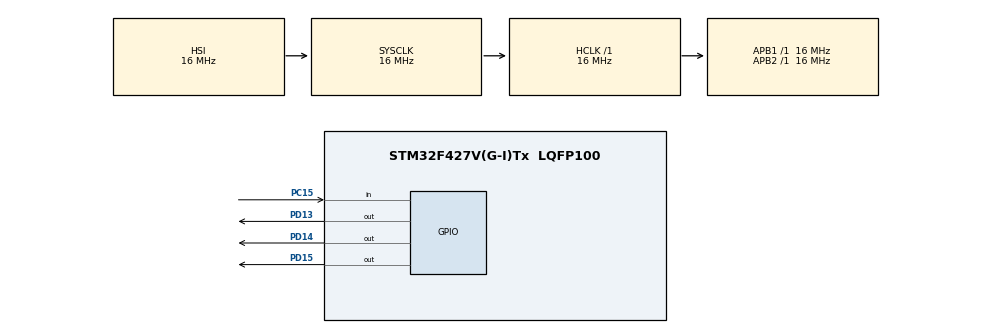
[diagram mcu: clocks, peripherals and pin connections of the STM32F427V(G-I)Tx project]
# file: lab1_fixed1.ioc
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Mcu.Family=STM32F4
Mcu.Name=STM32F427V(G-I)Tx
Mcu.Package=LQFP100
NVIC.PriorityGroup=NVIC_PRIORITYGROUP_4
PA13.Mode=JTAG_5_pins
PA13.Signal=SYS_JTMS-SWDIO
PA14.Mode=JTAG_5_pins
PA14.Signal=SYS_JTCK-SWCLK
PA15.Mode=JTAG_5_pins
PA15.Signal=SYS_JTDI
PB3.Mode=JTAG_5_pins
PB3.Signal=SYS_JTDO-SWO
PB4.Mode=JTAG_5_pins
PB4.Signal=SYS_JTRST
PC15/OSC32_OUT.Signal=GPIO_Input
PD13.Signal=GPIO_Output
PD14.Signal=GPIO_Output
PD15.Signal=GPIO_Output
ProjectManager.HeapSize=0x200
ProjectManager.StackSize=0x400
ProjectManager.TargetToolchain=STM32CubeIDE
RCC.AHBFreq_Value=16000000
RCC.APB1Freq_Value=16000000
RCC.APB2Freq_Value=16000000
RCC.CortexFreq_Value=16000000
RCC.HSE_VALUE=25000000
RCC.HSI_VALUE=16000000
RCC.LSE_VALUE=32768
RCC.SYSCLKFreq_VALUE=16000000
RCC.VCOOutputFreq_Value=192000000
board=custom

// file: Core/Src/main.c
/* USER CODE BEGIN Header */
/**
  ******************************************************************************
  * @file           : main.c
  * @brief          : Main program body
  ******************************************************************************
  * @attention
  *
  * Copyright (c) 2024 STMicroelectronics.
  * All rights reserved.
  *
  * This software is licensed under terms that can be found in the LICENSE file
  * in the root directory of this software component.
  * If no LICENSE file comes with this software, it is provided AS-IS.
  *
  ******************************************************************************
  */
/* USER CODE END Header */
#include "main.h"
#include "gpio.h"

/* USER CODE BEGIN Includes */
#include <stdbool.h>

#include "LightInfo.c"
/* USER CODE END Includes */

void SystemClock_Config(void);

/* USER CODE BEGIN 0 */

bool blocked = false;

bool is_button_pressed() {
	if (blocked){
		bool not_touched = (HAL_GPIO_ReadPin(GPIOC,GPIO_PIN_15) == 0);
		if (not_touched){
			blocked = false;
		}
		return not_touched;
	}
	blocked = (HAL_GPIO_ReadPin(GPIOC,GPIO_PIN_15) != 0);
	return false;
 }

struct LightInfo light_types[] = {
		  { { -1,GPIO_PIN_13,-1,GPIO_PIN_14 }, 600, 600,0 },
		  { { -1,GPIO_PIN_15,-1,GPIO_PIN_14 }, 1000, 1000, 0 },
		  { { -1,GPIO_PIN_13,-1,GPIO_PIN_15 }, 2000, 2000, 0 },
		  { { -1,GPIO_PIN_14,-1,GPIO_PIN_13 }, 500, 500, 0 }
};

bool activate_Light(struct LightInfo* current_mode) {
	bool clicked_while_animation = false;
	int code = current_mode->code[current_mode->current_code_index];

	int start_time = HAL_GetTick();
	int remain = current_mode->remain_time;
	while (HAL_GetTick() < start_time + remain)
		if (is_button_pressed() == true)
		{
			current_mode->remain_time = current_mode->delay_time - (HAL_GetTick() - start_time);
			clicked_while_animation = true;
			break;
		}

	if (code != -1) {
		HAL_GPIO_TogglePin(GPIOD, code);
	}
	if (!clicked_while_animation){
		current_mode->remain_time = current_mode->delay_time;
	}
	current_mode->current_code_index = (current_mode->current_code_index + 1) % 4;
	return clicked_while_animation;
}
/* USER CODE END 0 */

int main(void)
{

  /* MCU Configuration--------------------------------------------------------*/

  /* Reset of all peripherals, Initializes the Flash interface and the Systick. */
  HAL_Init();

  /* Configure the system clock */
  SystemClock_Config();

  /* Initialize all configured peripherals */
  MX_GPIO_Init();

  /* Infinite loop */
  /* USER CODE BEGIN WHILE */
  int mode = 0;
  bool start_when_button_is_pressed = false;
  while (1) {
	  start_when_button_is_pressed = activate_Light(&light_types[mode]);
		  if (is_button_pressed() || start_when_button_is_pressed) {
		  HAL_GPIO_WritePin(GPIOD, GPIO_PIN_13, 0);
		  HAL_GPIO_WritePin(GPIOD, GPIO_PIN_14, 0);
		  HAL_GPIO_WritePin(GPIOD, GPIO_PIN_15, 0);
		  mode = (mode + 1) % 4;
	  }
  }
  /* USER CODE END 3 */
}

void SystemClock_Config(void)
{
  RCC_OscInitTypeDef RCC_OscInitStruct = {0};
  RCC_ClkInitTypeDef RCC_ClkInitStruct = {0};

  /** Configure the main internal regulator output voltage
  */
  __HAL_RCC_PWR_CLK_ENABLE();
  __HAL_PWR_VOLTAGESCALING_CONFIG(PWR_REGULATOR_VOLTAGE_SCALE3);

  /** Initializes the RCC Oscillators according to the specified parameters
  * in the RCC_OscInitTypeDef structure.
  */
  RCC_OscInitStruct.OscillatorType = RCC_OSCILLATORTYPE_HSI;
  RCC_OscInitStruct.HSIState = RCC_HSI_ON;
  RCC_OscInitStruct.HSICalibrationValue = RCC_HSICALIBRATION_DEFAULT;
  RCC_OscInitStruct.PLL.PLLState = RCC_PLL_NONE;
  if (HAL_RCC_OscConfig(&RCC_OscInitStruct) != HAL_OK)
  {
    Error_Handler();
  }

  /** Initializes the CPU, AHB and APB buses clocks
  */
  RCC_ClkInitStruct.ClockType = RCC_CLOCKTYPE_HCLK|RCC_CLOCKTYPE_SYSCLK
                              |RCC_CLOCKTYPE_PCLK1|RCC_CLOCKTYPE_PCLK2;
  RCC_ClkInitStruct.SYSCLKSource = RCC_SYSCLKSOURCE_HSI;
  RCC_ClkInitStruct.AHBCLKDivider = RCC_SYSCLK_DIV1;
  RCC_ClkInitStruct.APB1CLKDivider = RCC_HCLK_DIV1;
  RCC_ClkInitStruct.APB2CLKDivider = RCC_HCLK_DIV1;

  if (HAL_RCC_ClockConfig(&RCC_ClkInitStruct, FLASH_LATENCY_0) != HAL_OK)
  {
    Error_Handler();
  }
}

void Error_Handler(void)
{
  __disable_irq();
  while (1)
  {
  }
}
